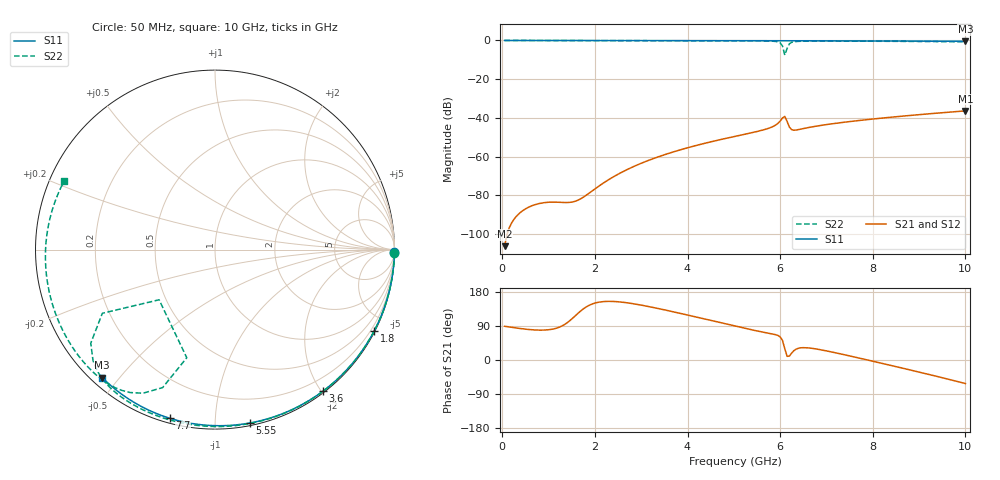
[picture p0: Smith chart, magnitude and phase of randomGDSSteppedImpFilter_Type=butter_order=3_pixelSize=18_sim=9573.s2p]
! freq	dB(S11)	phase(S11)	dB(S12)	phase(S12)
!  dB(S21)	phase(S21)	dB(S22)	phase(S22)
!S-par simulation data
#  GHz  S  DB  R 50
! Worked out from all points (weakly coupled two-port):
!   200 points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, 50 MHz to 10 GHz, reference 50 ohm
!   highest |S21| = -36.36 dB at 10 GHz (marker M1); lowest = -106.2 dB at 50 MHz (marker M2)
!   lowest |S11| = -0.4 dB at 10 GHz (marker M3), VSWR 39.20, Z = 1.54 - j22.6 ohm
!   |S11| at or under -10 dB: nowhere
!   |S22| runs from -7.6 to 0.0 dB; largest |S21 - S12| = 0
!   S11 on the Smith chart (normalised r, x): 50 MHz: open; 1.8 GHz: 0.04, -4.18; 3.6 GHz: 0.02, -2.02; 5.55 GHz: 0.02, -1.22; 7.7 GHz: 0.02, -0.77; 10 GHz: 0.03, -0.45
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0.05  -0.00 -0.8  -106.16 89.1  -106.16 89.1  -0.00 -1.2
0.85  -0.02 -12.8  -83.90 78.8  -83.90 78.8  -0.03 -19.8
1.75  -0.03 -26.2  -80.87 134.9  -80.87 134.9  -0.05 -40.3
1.8  -0.03 -26.9  -80.08 139.1  -80.08 139.1  -0.05 -41.4
2.55  -0.05 -37.8  -68.38 153.1  -68.38 153.1  -0.07 -57.9
3.4  -0.07 -49.9  -59.79 135.0  -59.79 135.0  -0.10 -76.0
3.6  -0.07 -52.7  -58.21 129.7  -58.21 129.7  -0.11 -80.1
5.05  -0.11 -72.2  -49.37 88.8  -49.37 88.8  -0.17 -109.9
5.55  -0.13 -78.6  -46.70 75.4  -46.70 75.4  -0.23 -121.2
5.85  -0.14 -82.5  -44.36 68.3  -44.36 68.3  -0.40 -131.2
6  -0.15 -84.3  -41.63 61.1  -41.63 61.1  -1.25 -143.0
6.05  -0.15 -85.0  -40.03 51.8  -40.03 51.8  -2.84 -150.5
6.1  -0.15 -85.6  -39.20 29.9  -39.20 29.9  -7.57 -138.1
6.15  -0.15 -86.2  -41.76 9.6  -41.76 9.6  -4.12 -104.6
6.2  -0.15 -86.9  -44.74 10.5  -44.74 10.5  -1.70 -110.8
6.25  -0.16 -87.5  -46.05 18.6  -46.05 18.6  -0.96 -116.7
6.35  -0.16 -88.7  -46.22 28.9  -46.22 28.9  -0.53 -123.6
6.7  -0.18 -93.0  -44.54 30.6  -44.54 30.6  -0.33 -135.1
7.7  -0.24 -105.0  -41.32 5.3  -41.32 5.3  -0.37 -156.0
8.35  -0.29 -112.6  -39.71 -13.1  -39.71 -13.1  -0.43 -168.9
9.2  -0.36 -122.3  -37.88 -37.8  -37.88 -37.8  -0.54 173.6
10  -0.44 -131.4  -36.36 -62.2  -36.36 -62.2  -0.70 155.4
